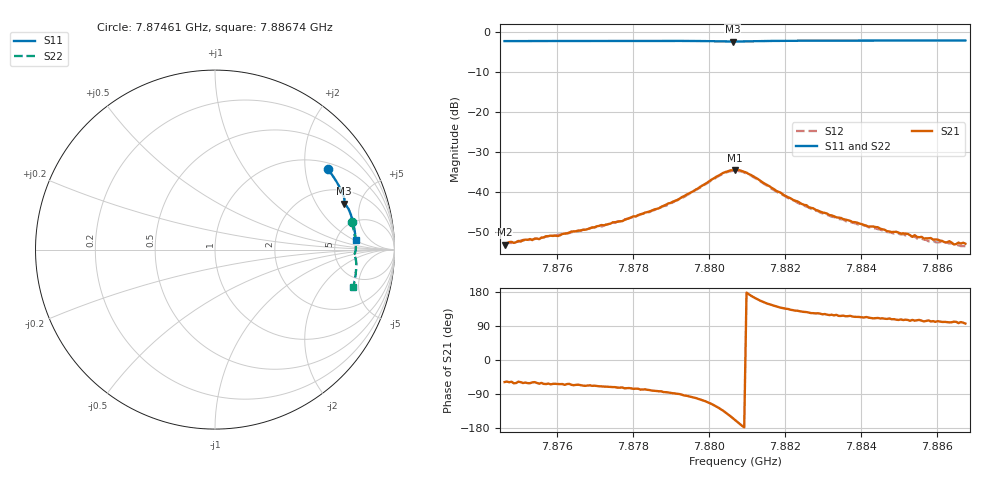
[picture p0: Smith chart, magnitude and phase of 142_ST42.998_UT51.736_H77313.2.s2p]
#  HZ  S  DB  R  50.00
! Rohde & Schwarz Vector Network Analyzer
! Rohde-Schwarz,ZNB20-2Port,1311601062101988,3.16
! Created: UTC 1/12/2023, 6:39:51 PM
! freq[Hz]  db:S11  ang:S11  db:S21  ang:S21  db:S12  ang:S12  db:S22  ang:S22
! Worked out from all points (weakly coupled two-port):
!   201 points, 7.87461 GHz to 7.88674 GHz, reference 50 ohm
!   highest |S21| = -34.38 dB at 7.88067 GHz (marker M1); lowest = -53.0 dB at 7.87461 GHz (marker M2)
!   lowest |S11| = -2.3 dB at 7.88061 GHz (marker M3), VSWR 7.44, Z = 145 + j177 ohm
!   |S11| at or under -10 dB: nowhere
!   |S22| runs from -2.3 to -1.9 dB; largest |S21 - S12| = 0.0012
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7.874609e9  -2.25 35.5  -53.04 -58.2  -53.04 -58.5  -2.20 11.5
7.87473e9  -2.24 35.2  -52.42 -58.6  -52.63 -59.8  -2.20 11.2
7.876004e9  -2.22 31.7  -50.92 -63.4  -50.60 -66.2  -2.15 8.2
7.876671e9  -2.21 29.9  -49.36 -67.6  -49.30 -70.9  -2.14 6.5
7.877702e9  -2.20 27.0  -47.19 -72.3  -47.08 -77.1  -2.12 4.1
7.878672e9  -2.19 24.3  -43.97 -82.6  -43.94 -85.5  -2.10 1.8
7.87934e9  -2.20 22.4  -40.92 -93.8  -41.12 -95.6  -2.12 0.2
7.880371e9  -2.32 19.8  -35.10 -134.5  -35.33 -137.8  -2.23 -2.1
7.880613e9  -2.35 19.5  -34.48 -153.3  -34.64 -156.7  -2.25 -2.2
7.880674e9  -2.35 19.5  -34.38 -158.5  -34.62 -161.7  -2.26 -2.2
7.881038e9  -2.30 19.1  -35.43 173.6  -35.54 169.9  -2.21 -2.4
7.882008e9  -2.17 16.5  -40.91 135.3  -41.03 131.3  -2.07 -4.5
7.882736e9  -2.14 14.5  -43.99 123.6  -44.34 121.2  -2.02 -6.2
7.883343e9  -2.13 12.9  -46.24 119.2  -46.35 114.4  -2.01 -7.6
7.884738e9  -2.11 9.1  -49.75 109.7  -49.95 106.0  -1.98 -10.8
7.885344e9  -2.10 7.5  -51.11 105.8  -50.99 101.9  -1.97 -12.1
7.885769e9  -2.10 6.5  -51.46 104.5  -52.22 99.3  -1.97 -13.0
7.886193e9  -2.09 5.3  -52.46 100.6  -52.60 97.1  -1.97 -14.0
7.886315e9  -2.09 5.0  -52.19 99.2  -52.80 98.6  -1.96 -14.2
7.886436e9  -2.09 4.7  -53.00 101.0  -52.90 98.1  -1.96 -14.5
7.886557e9  -2.09 4.4  -52.54 97.3  -53.25 96.5  -1.96 -14.7
7.886739e9  -2.08 3.9  -52.81 96.3  -53.43 95.8  -1.96 -15.1
